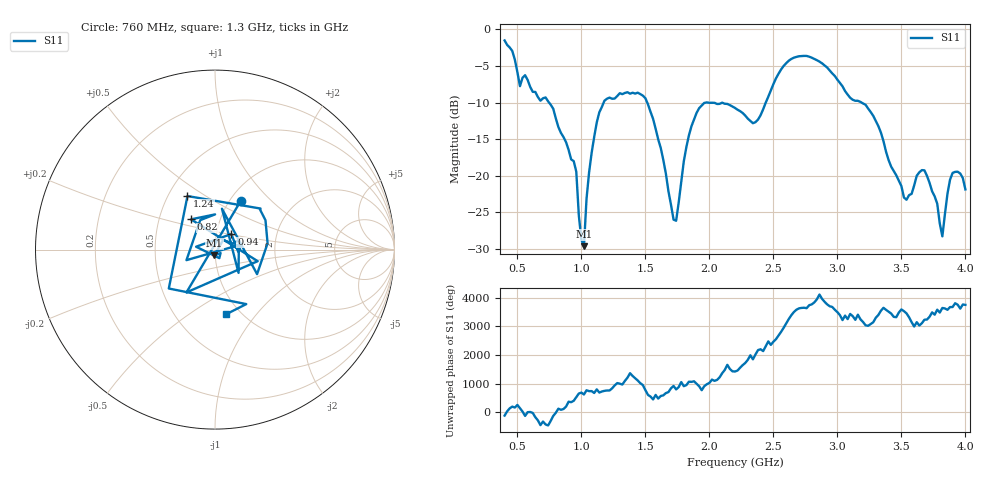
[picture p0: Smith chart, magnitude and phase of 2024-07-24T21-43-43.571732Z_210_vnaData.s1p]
!Created with skrf (http://scikit-rf.org).
# Hz S RI R 50.0
!freq ReS11 ImS11
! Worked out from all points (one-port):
!   181 points, 400 MHz to 4 GHz, reference 50 ohm
!   lowest |S11| = -29.6 dB at 1.02 GHz (marker M1), VSWR 1.07, Z = 49.5 - j3.25 ohm
!   |S11| at or under -10 dB: 1.514 GHz to 1.976 GHz (461.7 MHz wide, 26.5 % of centre); 1.985 GHz to 2.44 GHz (455.2 MHz wide, 20.6 % of centre); 3.188 GHz to end of sweep (the widest 3 of 4)
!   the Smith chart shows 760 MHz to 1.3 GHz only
!   S11 on the Smith chart (normalised r, x): 760 MHz: 1.12, +0.67; 820 MHz: 0.73, +0.26; 940 MHz: 1.18, +0.21; 1.24 GHz: 0.63, +0.42; 1.3 GHz: 0.85, -0.71
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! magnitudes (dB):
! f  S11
! 400 MHz  -1.5
! 520 MHz  -7.8
! 760 MHz  -10.3
! 820 MHz  -13.3
! 860 MHz  -14.7
! 940 MHz  -18.0
! 1 GHz  -28.7
! 1.02 GHz  -29.6
! 1.06 GHz  -19.5
! 1.12 GHz  -12.7
! 1.24 GHz  -9.5
! 1.3 GHz  -8.7
! 1.5 GHz  -9.4
! 1.62 GHz  -16.2
! 1.72 GHz  -26.0
! 1.76 GHz  -23.7
! 1.82 GHz  -16.1
! 1.92 GHz  -10.8
! 2.2 GHz  -10.7
! 2.36 GHz  -12.7
! 2.66 GHz  -3.9
! 3.1 GHz  -9.4
! 3.28 GHz  -11.8
! 3.56 GHz  -22.6
! 3.68 GHz  -19.3
! 3.82 GHz  -28.3
! 3.9 GHz  -19.6
! 4 GHz  -21.9
